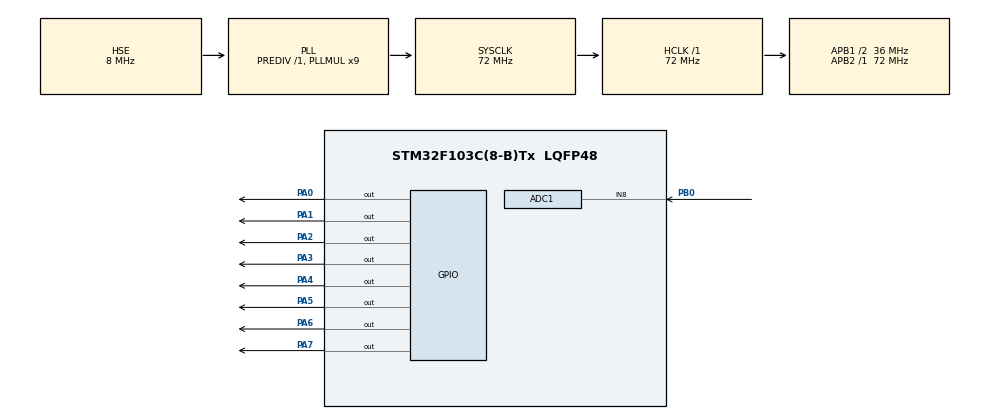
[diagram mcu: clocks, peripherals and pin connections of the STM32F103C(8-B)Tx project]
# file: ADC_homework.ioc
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ADC1.Channel-1\#ChannelRegularConversion=ADC_CHANNEL_8
ADC1.NbrOfConversionFlag=1
ADC1.Rank-1\#ChannelRegularConversion=1
ADC1.SamplingTime-1\#ChannelRegularConversion=ADC_SAMPLETIME_1CYCLE_5
ADC1.master=1
Mcu.Family=STM32F1
Mcu.Name=STM32F103C(8-B)Tx
Mcu.Package=LQFP48
NVIC.PriorityGroup=NVIC_PRIORITYGROUP_4
PA0-WKUP.Signal=GPIO_Output
PA1.Signal=GPIO_Output
PA13.Mode=Serial_Wire
PA13.Signal=SYS_JTMS-SWDIO
PA14.Mode=Serial_Wire
PA14.Signal=SYS_JTCK-SWCLK
PA2.Signal=GPIO_Output
PA3.Signal=GPIO_Output
PA4.Signal=GPIO_Output
PA5.Signal=GPIO_Output
PA6.Signal=GPIO_Output
PA7.Signal=GPIO_Output
PB0.Signal=ADCx_IN8
PD0-OSC_IN.Mode=HSE-External-Oscillator
PD0-OSC_IN.Signal=RCC_OSC_IN
PD1-OSC_OUT.Mode=HSE-External-Oscillator
PD1-OSC_OUT.Signal=RCC_OSC_OUT
ProjectManager.HeapSize=0x200
ProjectManager.StackSize=0x400
ProjectManager.TargetToolchain=MDK-ARM V5.32
RCC.ADCPresc=RCC_ADCPCLK2_DIV6
RCC.AHBFreq_Value=72000000
RCC.APB1CLKDivider=RCC_HCLK_DIV2
RCC.APB1Freq_Value=36000000
RCC.APB1TimFreq_Value=72000000
RCC.APB2Freq_Value=72000000
RCC.APB2TimFreq_Value=72000000
RCC.HCLKFreq_Value=72000000
RCC.PLLMUL=RCC_PLL_MUL9
RCC.PLLSourceVirtual=RCC_PLLSOURCE_HSE
RCC.SYSCLKFreq_VALUE=72000000
RCC.SYSCLKSource=RCC_SYSCLKSOURCE_PLLCLK
RCC.USBFreq_Value=72000000
SH.ADCx_IN8.0=ADC1_IN8,IN8
board=custom

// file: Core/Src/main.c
/* USER CODE BEGIN Header */
/**
  ******************************************************************************
  * @file           : main.c
  * @brief          : Main program body
  ******************************************************************************
  * @attention
  *
  * Copyright (c) 2023 STMicroelectronics.
  * All rights reserved.
  *
  * This software is licensed under terms that can be found in the LICENSE file
  * in the root directory of this software component.
  * If no LICENSE file comes with this software, it is provided AS-IS.
  *
  ******************************************************************************
  */
/* USER CODE END Header */
#include "main.h"

ADC_HandleTypeDef hadc1;

void SystemClock_Config(void);
static void MX_GPIO_Init(void);
static void MX_ADC1_Init(void);

/* USER CODE BEGIN 0 */
uint16_t adc_getvalue;
uint16_t adc_value()
{
	uint16_t adc;
	HAL_ADC_Start(&hadc1);
	HAL_ADC_PollForConversion(&hadc1, 1000);
	adc = HAL_ADC_GetValue(&hadc1);
	HAL_ADC_Stop(&hadc1);
	return adc;
}
void LED0()
{
	HAL_GPIO_WritePin(GPIOA,GPIO_PIN_0,GPIO_PIN_RESET);
	HAL_GPIO_WritePin(GPIOA,GPIO_PIN_1,GPIO_PIN_RESET);
	HAL_GPIO_WritePin(GPIOA,GPIO_PIN_2,GPIO_PIN_RESET);
	HAL_GPIO_WritePin(GPIOA,GPIO_PIN_3,GPIO_PIN_RESET);
	HAL_GPIO_WritePin(GPIOA,GPIO_PIN_4,GPIO_PIN_RESET);
	HAL_GPIO_WritePin(GPIOA,GPIO_PIN_5,GPIO_PIN_RESET);
	HAL_GPIO_WritePin(GPIOA,GPIO_PIN_6,GPIO_PIN_RESET);
	HAL_GPIO_WritePin(GPIOA,GPIO_PIN_7,GPIO_PIN_RESET);
}
void LED1()
{
	LED0();
	HAL_GPIO_WritePin(GPIOA,GPIO_PIN_0,GPIO_PIN_SET);
}
void LED2()
{
	LED1();
	HAL_GPIO_WritePin(GPIOA,GPIO_PIN_1,GPIO_PIN_SET);
}
void LED3()
{
	LED2();
	HAL_GPIO_WritePin(GPIOA,GPIO_PIN_2,GPIO_PIN_SET);
}
void LED4()
{
	LED3();
	HAL_GPIO_WritePin(GPIOA,GPIO_PIN_3,GPIO_PIN_SET);
}
void LED5()
{
	LED4();
	HAL_GPIO_WritePin(GPIOA,GPIO_PIN_4,GPIO_PIN_SET);
}
void LED6()
{
	LED5();
	HAL_GPIO_WritePin(GPIOA,GPIO_PIN_5,GPIO_PIN_SET);
}
void LED7()
{
	LED6();
	HAL_GPIO_WritePin(GPIOA,GPIO_PIN_6,GPIO_PIN_SET);
}
void LED8()
{
	LED7();
	HAL_GPIO_WritePin(GPIOA,GPIO_PIN_7,GPIO_PIN_SET);
}

void Led_Handle(uint16_t adc)
{
	if(adc >= 0 && adc <= 454)
	{
		LED0();
	}
	else if( adc >= 455 && adc <= 909)
	{
		LED1();
	}
	else if(adc >= 910 && adc <= 1364)
	{
		LED2();
	}
	else if(adc >= 1365 && adc <= 1819)
	{
		LED3();
	}
	else if(adc >= 1820 && adc <= 2274)
	{
		LED4();
	}
	else if(adc >= 2275 && adc <= 2729)
	{
		LED5();
	}
	else if(adc >= 2730 && adc <= 3184)
	{
		LED6();
	}
	else if(adc >= 3185 && adc <= 3639)
	{
		LED7();
	}
	else
	{
		LED8();
	}
}
/* USER CODE END 0 */

int main(void)
{

  /* MCU Configuration--------------------------------------------------------*/

  /* Reset of all peripherals, Initializes the Flash interface and the Systick. */
  HAL_Init();

  /* Configure the system clock */
  SystemClock_Config();

  /* Initialize all configured peripherals */
  MX_GPIO_Init();
  MX_ADC1_Init();
  /* USER CODE BEGIN 2 */
	HAL_ADCEx_Calibration_Start(&hadc1);
  /* USER CODE END 2 */

  /* Infinite loop */
  while (1)
  {

    /* USER CODE BEGIN 3 */
		adc_getvalue = adc_value();
		Led_Handle(adc_getvalue);
		HAL_Delay(50);
  }
  /* USER CODE END 3 */
}

void SystemClock_Config(void)
{
  RCC_OscInitTypeDef RCC_OscInitStruct = {0};
  RCC_ClkInitTypeDef RCC_ClkInitStruct = {0};
  RCC_PeriphCLKInitTypeDef PeriphClkInit = {0};

  /** Initializes the RCC Oscillators according to the specified parameters
  * in the RCC_OscInitTypeDef structure.
  */
  RCC_OscInitStruct.OscillatorType = RCC_OSCILLATORTYPE_HSE;
  RCC_OscInitStruct.HSEState = RCC_HSE_ON;
  RCC_OscInitStruct.HSEPredivValue = RCC_HSE_PREDIV_DIV1;
  RCC_OscInitStruct.HSIState = RCC_HSI_ON;
  RCC_OscInitStruct.PLL.PLLState = RCC_PLL_ON;
  RCC_OscInitStruct.PLL.PLLSource = RCC_PLLSOURCE_HSE;
  RCC_OscInitStruct.PLL.PLLMUL = RCC_PLL_MUL9;
  if (HAL_RCC_OscConfig(&RCC_OscInitStruct) != HAL_OK)
  {
    Error_Handler();
  }

  /** Initializes the CPU, AHB and APB buses clocks
  */
  RCC_ClkInitStruct.ClockType = RCC_CLOCKTYPE_HCLK|RCC_CLOCKTYPE_SYSCLK
                              |RCC_CLOCKTYPE_PCLK1|RCC_CLOCKTYPE_PCLK2;
  RCC_ClkInitStruct.SYSCLKSource = RCC_SYSCLKSOURCE_PLLCLK;
  RCC_ClkInitStruct.AHBCLKDivider = RCC_SYSCLK_DIV1;
  RCC_ClkInitStruct.APB1CLKDivider = RCC_HCLK_DIV2;
  RCC_ClkInitStruct.APB2CLKDivider = RCC_HCLK_DIV1;

  if (HAL_RCC_ClockConfig(&RCC_ClkInitStruct, FLASH_LATENCY_2) != HAL_OK)
  {
    Error_Handler();
  }
  PeriphClkInit.PeriphClockSelection = RCC_PERIPHCLK_ADC;
  PeriphClkInit.AdcClockSelection = RCC_ADCPCLK2_DIV6;
  if (HAL_RCCEx_PeriphCLKConfig(&PeriphClkInit) != HAL_OK)
  {
    Error_Handler();
  }
}

static void MX_ADC1_Init(void)
{

  ADC_ChannelConfTypeDef sConfig = {0};

  /** Common config
  */
  hadc1.Instance = ADC1;
  hadc1.Init.ScanConvMode = ADC_SCAN_DISABLE;
  hadc1.Init.ContinuousConvMode = DISABLE;
  hadc1.Init.DiscontinuousConvMode = DISABLE;
  hadc1.Init.ExternalTrigConv = ADC_SOFTWARE_START;
  hadc1.Init.DataAlign = ADC_DATAALIGN_RIGHT;
  hadc1.Init.NbrOfConversion = 1;
  if (HAL_ADC_Init(&hadc1) != HAL_OK)
  {
    Error_Handler();
  }

  /** Configure Regular Channel
  */
  sConfig.Channel = ADC_CHANNEL_8;
  sConfig.Rank = ADC_REGULAR_RANK_1;
  sConfig.SamplingTime = ADC_SAMPLETIME_1CYCLE_5;
  if (HAL_ADC_ConfigChannel(&hadc1, &sConfig) != HAL_OK)
  {
    Error_Handler();
  }

}

static void MX_GPIO_Init(void)
{
  GPIO_InitTypeDef GPIO_InitStruct = {0};

  /* GPIO Ports Clock Enable */
  __HAL_RCC_GPIOD_CLK_ENABLE();
  __HAL_RCC_GPIOA_CLK_ENABLE();
  __HAL_RCC_GPIOB_CLK_ENABLE();

  /*Configure GPIO pin Output Level */
  HAL_GPIO_WritePin(GPIOA, GPIO_PIN_0|GPIO_PIN_1|GPIO_PIN_2|GPIO_PIN_3
                          |GPIO_PIN_4|GPIO_PIN_5|GPIO_PIN_6|GPIO_PIN_7, GPIO_PIN_RESET);

  /*Configure GPIO pins : PA0 PA1 PA2 PA3
                           PA4 PA5 PA6 PA7 */
  GPIO_InitStruct.Pin = GPIO_PIN_0|GPIO_PIN_1|GPIO_PIN_2|GPIO_PIN_3
                          |GPIO_PIN_4|GPIO_PIN_5|GPIO_PIN_6|GPIO_PIN_7;
  GPIO_InitStruct.Mode = GPIO_MODE_OUTPUT_PP;
  GPIO_InitStruct.Pull = GPIO_NOPULL;
  GPIO_InitStruct.Speed = GPIO_SPEED_FREQ_LOW;
  HAL_GPIO_Init(GPIOA, &GPIO_InitStruct);

}

void Error_Handler(void)
{
  __disable_irq();
  while (1)
  {
  }
}
